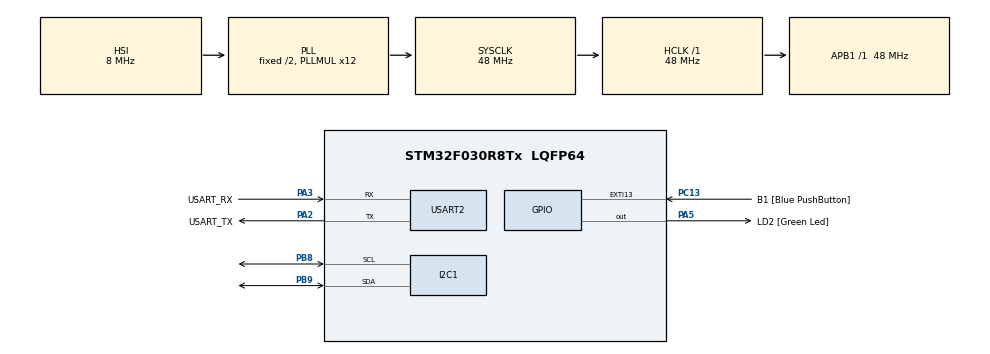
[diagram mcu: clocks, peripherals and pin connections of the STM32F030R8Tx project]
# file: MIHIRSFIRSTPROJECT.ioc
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Mcu.Family=STM32F0
Mcu.Name=STM32F030R8Tx
Mcu.Package=LQFP64
PA13.GPIO_Label=TMS
PA13.Mode=Serial_Wire
PA13.Signal=SYS_SWDIO
PA14.GPIO_Label=TCK
PA14.Mode=Serial_Wire
PA14.Signal=SYS_SWCLK
PA2.GPIO_Label=USART_TX
PA2.GPIO_Mode=GPIO_MODE_AF_PP
PA2.GPIO_PuPd=GPIO_NOPULL
PA2.GPIO_Speed=GPIO_SPEED_FREQ_LOW
PA2.Mode=Asynchronous
PA2.Signal=USART2_TX
PA3.GPIO_Label=USART_RX
PA3.GPIO_Mode=GPIO_MODE_AF_PP
PA3.GPIO_PuPd=GPIO_NOPULL
PA3.GPIO_Speed=GPIO_SPEED_FREQ_LOW
PA3.Mode=Asynchronous
PA3.Signal=USART2_RX
PA5.GPIO_Label=LD2 [Green Led]
PA5.GPIO_Mode=GPIO_MODE_OUTPUT_PP
PA5.GPIO_PuPd=GPIO_NOPULL
PA5.GPIO_Speed=GPIO_SPEED_FREQ_LOW
PA5.Signal=GPIO_Output
PB8.Mode=I2C
PB8.Signal=I2C1_SCL
PB9.Mode=I2C
PB9.Signal=I2C1_SDA
PC13.GPIO_Label=B1 [Blue PushButton]
PC13.GPIO_ModeDefaultEXTI=GPIO_MODE_IT_FALLING
PC13.Signal=GPXTI13
PC14-OSC32_IN.Mode=LSE-External-Oscillator
PC14-OSC32_IN.Signal=RCC_OSC32_IN
PC15-OSC32_OUT.Mode=LSE-External-Oscillator
PC15-OSC32_OUT.Signal=RCC_OSC32_OUT
PF0-OSC_IN.Mode=HSE-External-Clock-Source
PF0-OSC_IN.Signal=RCC_OSC_IN
PF1-OSC_OUT.Signal=RCC_OSC_OUT
ProjectManager.HeapSize=0x200
ProjectManager.StackSize=0x400
ProjectManager.TargetToolchain=STM32CubeIDE
RCC.AHBFreq_Value=48000000
RCC.APB1Freq_Value=48000000
RCC.APB1TimFreq_Value=48000000
RCC.HCLKFreq_Value=48000000
RCC.PLLMUL=RCC_PLL_MUL12
RCC.SYSCLKFreq_VALUE=48000000
RCC.SYSCLKSource=RCC_SYSCLKSOURCE_PLLCLK
USART2.VirtualMode-Asynchronous=VM_ASYNC
board=NUCLEO-F030R8

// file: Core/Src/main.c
/* USER CODE BEGIN Header */
/**
  ******************************************************************************
  * @file           : main.c
  * @brief          : Main program body
  ******************************************************************************
  * @attention
  *
  * Copyright (c) 2026 STMicroelectronics.
  * All rights reserved.
  *
  * This software is licensed under terms that can be found in the LICENSE file
  * in the root directory of this software component.
  * If no LICENSE file comes with this software, it is provided AS-IS.
  *
  ******************************************************************************
  */
/* USER CODE END Header */
#include "main.h"

/* USER CODE BEGIN Includes */
#include "ssd1306.h"
#include <stdio.h>
/* USER CODE END Includes */

I2C_HandleTypeDef hi2c1;

UART_HandleTypeDef huart2;

/* USER CODE BEGIN PV */
uint32_t press_count = 0;
uint8_t last_btn_state = GPIO_PIN_SET;
char str_buf[32];
/* USER CODE END PV */

void SystemClock_Config(void);
static void MX_GPIO_Init(void);
static void MX_USART2_UART_Init(void);
static void MX_I2C1_Init(void);

int main(void)
{

  /* MCU Configuration--------------------------------------------------------*/

  /* Reset of all peripherals, Initializes the Flash interface and the Systick. */
  HAL_Init();

  /* Configure the system clock */
  SystemClock_Config();

  /* Initialize all configured peripherals */
  MX_GPIO_Init();
  MX_USART2_UART_Init();
  MX_I2C1_Init();
  /* USER CODE BEGIN 2 */
  SSD1306_Init(&hi2c1);              // OLED display start karo
  SSD1306_Clear();                   // Screen memory saaf karo
  SSD1306_GotoXY(10, 1);             // Line 1 position (Col 10, Page 1)
  SSD1306_Puts("HELLO MIHIR!");      // Display line 1
  SSD1306_GotoXY(10, 3);             // Line 2 position (Col 10, Page 3)
  SSD1306_Puts("STM32 IS ONLINE");   // Display line 2
  SSD1306_UpdateScreen();            // Data ko I2C se OLED par push karo

  /* USER CODE END 2 */

  /* Infinite loop */
    while (1)
    {

      /* USER CODE BEGIN 3 */
      // 1. Button press detect karo (Edge detection taaki fast flickering na ho)
      uint8_t current_btn_state = HAL_GPIO_ReadPin(B1_GPIO_Port, B1_Pin);
      if (last_btn_state == GPIO_PIN_SET && current_btn_state == GPIO_PIN_RESET)
      {
          press_count++;
          HAL_GPIO_TogglePin(LD2_GPIO_Port, LD2_Pin); // LED toggle on click

          // UART par telemetry event bhejo
          int len = sprintf(str_buf, "EVENT: Button Pressed! Total: %lu\r\n", press_count);
          HAL_UART_Transmit(&huart2, (uint8_t*)str_buf, len, 100);

          HAL_Delay(50); // Simple debounce delay
      }
      last_btn_state = current_btn_state;

      // 2. Telemetry calculations
      uint32_t uptime_sec = HAL_GetTick() / 1000;

      // 3. OLED Display Refresh (Har 200ms par update)
      SSD1306_Clear();

      SSD1306_GotoXY(5, 0);
      SSD1306_Puts("SYSTEM TELEMETRY");

      sprintf(str_buf, "UPTIME : %lu s", uptime_sec);
      SSD1306_GotoXY(5, 2);
      SSD1306_Puts(str_buf);

      sprintf(str_buf, "PRESSES: %lu", press_count);
      SSD1306_GotoXY(5, 4);
      SSD1306_Puts(str_buf);

      SSD1306_GotoXY(5, 6);
      SSD1306_Puts("UART2  : 38400 BAUD");

      SSD1306_UpdateScreen();
      HAL_Delay(200);
    }
    /* USER CODE END 3 */
}

void SystemClock_Config(void)
{
  RCC_OscInitTypeDef RCC_OscInitStruct = {0};
  RCC_ClkInitTypeDef RCC_ClkInitStruct = {0};
  RCC_PeriphCLKInitTypeDef PeriphClkInit = {0};

  /** Initializes the RCC Oscillators according to the specified parameters
  * in the RCC_OscInitTypeDef structure.
  */
  RCC_OscInitStruct.OscillatorType = RCC_OSCILLATORTYPE_HSI;
  RCC_OscInitStruct.HSIState = RCC_HSI_ON;
  RCC_OscInitStruct.HSICalibrationValue = RCC_HSICALIBRATION_DEFAULT;
  RCC_OscInitStruct.PLL.PLLState = RCC_PLL_ON;
  RCC_OscInitStruct.PLL.PLLSource = RCC_PLLSOURCE_HSI;
  RCC_OscInitStruct.PLL.PLLMUL = RCC_PLL_MUL12;
  RCC_OscInitStruct.PLL.PREDIV = RCC_PREDIV_DIV1;
  if (HAL_RCC_OscConfig(&RCC_OscInitStruct) != HAL_OK)
  {
    Error_Handler();
  }

  /** Initializes the CPU, AHB and APB buses clocks
  */
  RCC_ClkInitStruct.ClockType = RCC_CLOCKTYPE_HCLK|RCC_CLOCKTYPE_SYSCLK
                              |RCC_CLOCKTYPE_PCLK1;
  RCC_ClkInitStruct.SYSCLKSource = RCC_SYSCLKSOURCE_PLLCLK;
  RCC_ClkInitStruct.AHBCLKDivider = RCC_SYSCLK_DIV1;
  RCC_ClkInitStruct.APB1CLKDivider = RCC_HCLK_DIV1;

  if (HAL_RCC_ClockConfig(&RCC_ClkInitStruct, FLASH_LATENCY_1) != HAL_OK)
  {
    Error_Handler();
  }
  PeriphClkInit.PeriphClockSelection = RCC_PERIPHCLK_I2C1;
  PeriphClkInit.I2c1ClockSelection = RCC_I2C1CLKSOURCE_HSI;
  if (HAL_RCCEx_PeriphCLKConfig(&PeriphClkInit) != HAL_OK)
  {
    Error_Handler();
  }
}

static void MX_I2C1_Init(void)
{

  hi2c1.Instance = I2C1;
  hi2c1.Init.Timing = 0x2000090E;
  hi2c1.Init.OwnAddress1 = 0;
  hi2c1.Init.AddressingMode = I2C_ADDRESSINGMODE_7BIT;
  hi2c1.Init.DualAddressMode = I2C_DUALADDRESS_DISABLE;
  hi2c1.Init.OwnAddress2 = 0;
  hi2c1.Init.OwnAddress2Masks = I2C_OA2_NOMASK;
  hi2c1.Init.GeneralCallMode = I2C_GENERALCALL_DISABLE;
  hi2c1.Init.NoStretchMode = I2C_NOSTRETCH_DISABLE;
  if (HAL_I2C_Init(&hi2c1) != HAL_OK)
  {
    Error_Handler();
  }

  /** Configure Analogue filter
  */
  if (HAL_I2CEx_ConfigAnalogFilter(&hi2c1, I2C_ANALOGFILTER_ENABLE) != HAL_OK)
  {
    Error_Handler();
  }

  /** Configure Digital filter
  */
  if (HAL_I2CEx_ConfigDigitalFilter(&hi2c1, 0) != HAL_OK)
  {
    Error_Handler();
  }

}

static void MX_USART2_UART_Init(void)
{

  huart2.Instance = USART2;
  huart2.Init.BaudRate = 38400;
  huart2.Init.WordLength = UART_WORDLENGTH_8B;
  huart2.Init.StopBits = UART_STOPBITS_1;
  huart2.Init.Parity = UART_PARITY_NONE;
  huart2.Init.Mode = UART_MODE_TX_RX;
  huart2.Init.HwFlowCtl = UART_HWCONTROL_NONE;
  huart2.Init.OverSampling = UART_OVERSAMPLING_16;
  huart2.Init.OneBitSampling = UART_ONE_BIT_SAMPLE_DISABLE;
  huart2.AdvancedInit.AdvFeatureInit = UART_ADVFEATURE_NO_INIT;
  if (HAL_UART_Init(&huart2) != HAL_OK)
  {
    Error_Handler();
  }

}

static void MX_GPIO_Init(void)
{
  GPIO_InitTypeDef GPIO_InitStruct = {0};

  /* GPIO Ports Clock Enable */
  __HAL_RCC_GPIOC_CLK_ENABLE();
  __HAL_RCC_GPIOF_CLK_ENABLE();
  __HAL_RCC_GPIOA_CLK_ENABLE();
  __HAL_RCC_GPIOB_CLK_ENABLE();

  /*Configure GPIO pin Output Level */
  HAL_GPIO_WritePin(LD2_GPIO_Port, LD2_Pin, GPIO_PIN_RESET);

  /*Configure GPIO pin : B1_Pin */
  GPIO_InitStruct.Pin = B1_Pin;
  GPIO_InitStruct.Mode = GPIO_MODE_IT_FALLING;
  GPIO_InitStruct.Pull = GPIO_NOPULL;
  HAL_GPIO_Init(B1_GPIO_Port, &GPIO_InitStruct);

  /*Configure GPIO pin : LD2_Pin */
  GPIO_InitStruct.Pin = LD2_Pin;
  GPIO_InitStruct.Mode = GPIO_MODE_OUTPUT_PP;
  GPIO_InitStruct.Pull = GPIO_NOPULL;
  GPIO_InitStruct.Speed = GPIO_SPEED_FREQ_LOW;
  HAL_GPIO_Init(LD2_GPIO_Port, &GPIO_InitStruct);

}

void Error_Handler(void)
{
  __disable_irq();
  while (1)
  {
  }
}
